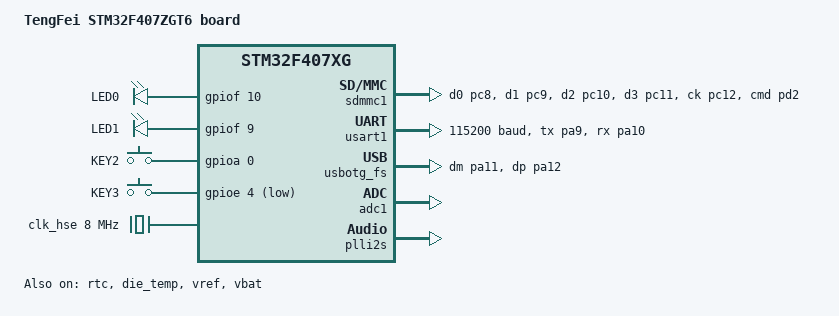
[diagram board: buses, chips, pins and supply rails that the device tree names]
/dts-v1/;
#include <st/f4/stm32f407Xg.dtsi>
#include <st/f4/stm32f407z(e-g)tx-pinctrl.dtsi>
#include <zephyr/dt-bindings/input/input-event-codes.h>

/ {
	model = "TengFei STM32F407ZGT6 board";
	compatible = "tengfei,f407zg";

	chosen {
		zephyr,console = &usart1;
		zephyr,shell-uart = &usart1;
		zephyr,sram = &sram0;
		zephyr,flash = &flash0;
		zephyr,ccm = &ccm0;
		zephyr,canbus = &can2;
	};

	leds {
		compatible = "gpio-leds";
		led_0: led_0 {
			gpios = <&gpiof 10 GPIO_ACTIVE_HIGH>;
			label = "LED0";
		};
		led_1: led_1 {
			gpios = <&gpiof 9 GPIO_ACTIVE_HIGH>;
			label = "LED1";
		};
	};

	gpio_keys {
		compatible = "gpio-keys";
		wk_up: wk_up {
			label = "KEY2";
			gpios = <&gpioa 0 (GPIO_PULL_DOWN | GPIO_ACTIVE_HIGH)>;
			zephyr,code = <INPUT_KEY_0>;
		};
		key_0: key_0 {
			label = "KEY3";
			gpios = <&gpioe 4 (GPIO_PULL_UP | GPIO_ACTIVE_LOW)>;
			zephyr,code = <INPUT_KEY_1>;
		};
		debounce-interval-ms = <100>;
	};

	aliases {
		led0 = &led_0;
		led1 = &led_1;
		sw0 = &key_0;
		die-temp0 = &die_temp;
		volt-sensor0 = &vref;
		volt-sensor1 = &vbat;
	};
};

&sdmmc1 {
	status = "okay";
	pinctrl-0 = <&sdio_d0_pc8 &sdio_d1_pc9 &sdio_d2_pc10 &sdio_d3_pc11 &sdio_ck_pc12 &sdio_cmd_pd2>;
	pinctrl-names = "default";
	disk-name = "SD";
};

&clk_lsi {
	status = "okay";
};

&clk_hse {
	clock-frequency = <DT_FREQ_M(8)>;
	status = "okay";
};

&pll {
	div-m = <8>;
	mul-n = <336>;
	div-p = <2>;
	div-q = <7>;
	clocks = <&clk_hse>;
	status = "okay";
};

&rcc {
	clocks = <&pll>;
	clock-frequency = <DT_FREQ_M(168)>;
	ahb-prescaler = <1>;
	apb1-prescaler = <4>;
	apb2-prescaler = <2>;
};

&usart1 {
	pinctrl-0 = <&usart1_tx_pa9 &usart1_rx_pa10>;
	pinctrl-names = "default";
	current-speed = <115200>;
	status = "okay";
};

&rtc {
	clocks = <&rcc STM32_CLOCK_BUS_APB1 0x10000000>,
		 <&rcc STM32_SRC_LSI RTC_SEL(2)>;
	status = "okay";

	backup_regs {
		status = "okay";
	};
};

zephyr_udc0: &usbotg_fs {
	pinctrl-0 = <&usb_otg_fs_dm_pa11 &usb_otg_fs_dp_pa12>;
	pinctrl-names = "default";
	status = "okay";
};

&adc1 {
	st,adc-prescaler = <2>;
	status = "okay";
};

&die_temp {
	status = "okay";
};

&vref {
	status = "okay";
};

&vbat {
	status = "okay";
};

&dma1 {
	status = "okay";
};

&plli2s {
	/* Minimize audio clock error (with i2s mck-enabled) for all of:
	 * - 22.05kHz / 16b, 24b or 32b
	 * - 44.1kHz  / 16b, 24b or 32b
	 * - 88.2kHz  / 16b or 24b
	 * Note: because the PLLI2S is dependent on the main PLL, the latter
	 *       should not be changed without checking impact on PLLI2S
	 */
	mul-n = <271>;
	div-r = <2>;
	status = "okay";
};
